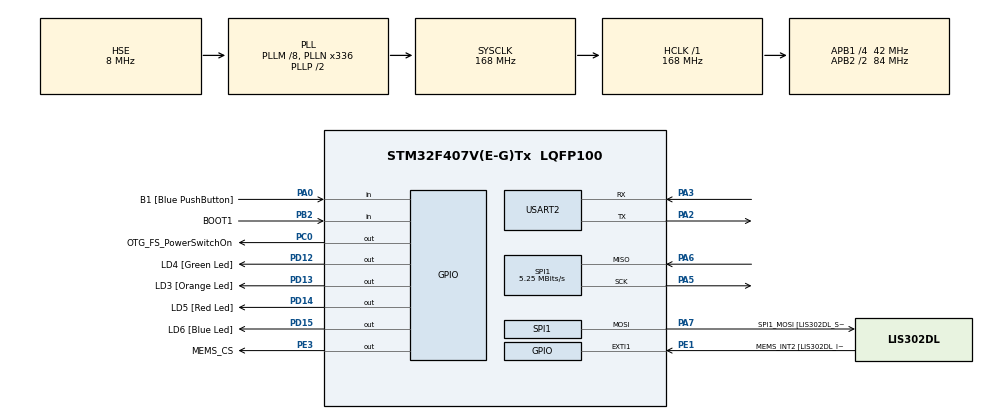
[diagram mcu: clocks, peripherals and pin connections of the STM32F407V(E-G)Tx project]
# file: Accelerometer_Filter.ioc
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Mcu.Family=STM32F4
Mcu.Name=STM32F407V(E-G)Tx
Mcu.Package=LQFP100
NVIC.PriorityGroup=NVIC_PRIORITYGROUP_0
PA0-WKUP.GPIO_Label=B1 [Blue PushButton]
PA0-WKUP.Signal=GPIO_Input
PA13.GPIO_Label=SWDIO
PA13.Mode=Serial_Wire
PA13.Signal=SYS_JTMS-SWDIO
PA14.GPIO_Label=SWCLK
PA14.Mode=Serial_Wire
PA14.Signal=SYS_JTCK-SWCLK
PA2.Mode=Asynchronous
PA2.Signal=USART2_TX
PA3.Mode=Asynchronous
PA3.Signal=USART2_RX
PA5.Mode=Full_Duplex_Master
PA5.Signal=SPI1_SCK
PA6.Mode=Full_Duplex_Master
PA6.Signal=SPI1_MISO
PA7.GPIO_Label=SPI1_MOSI [LIS302DL_SDA/SDI/SDO]
PA7.GPIO_Mode=GPIO_MODE_AF_PP
PA7.GPIO_PuPd=GPIO_NOPULL
PA7.GPIO_Speed=GPIO_SPEED_FREQ_VERY_HIGH
PA7.Mode=Full_Duplex_Master
PA7.Signal=SPI1_MOSI
PB2.GPIO_Label=BOOT1
PB2.GPIO_Mode=GPIO_MODE_INPUT
PB2.GPIO_PuPd=GPIO_NOPULL
PB2.Signal=GPIO_Input
PB3.GPIO_Label=SWO
PB3.Signal=SYS_JTDO-SWO
PC0.GPIO_Label=OTG_FS_PowerSwitchOn
PC0.GPIO_PuPd=GPIO_NOPULL
PC0.GPIO_Speed=GPIO_SPEED_FREQ_LOW
PC0.PinState=GPIO_PIN_SET
PC0.Signal=GPIO_Output
PC14-OSC32_IN.GPIO_Label=PC14-OSC32_IN
PC14-OSC32_IN.Mode=LSE-External-Oscillator
PC14-OSC32_IN.Signal=RCC_OSC32_IN
PC15-OSC32_OUT.GPIO_Label=PC15-OSC32_OUT
PC15-OSC32_OUT.Mode=LSE-External-Oscillator
PC15-OSC32_OUT.Signal=RCC_OSC32_OUT
PD12.GPIO_Label=LD4 [Green Led]
PD12.GPIO_PuPd=GPIO_NOPULL
PD12.GPIO_Speed=GPIO_SPEED_FREQ_LOW
PD12.Signal=GPIO_Output
PD13.GPIO_Label=LD3 [Orange Led]
PD13.GPIO_PuPd=GPIO_NOPULL
PD13.GPIO_Speed=GPIO_SPEED_FREQ_LOW
PD13.Signal=GPIO_Output
PD14.GPIO_Label=LD5 [Red Led]
PD14.GPIO_PuPd=GPIO_NOPULL
PD14.GPIO_Speed=GPIO_SPEED_FREQ_LOW
PD14.Signal=GPIO_Output
PD15.GPIO_Label=LD6 [Blue Led]
PD15.GPIO_PuPd=GPIO_NOPULL
PD15.GPIO_Speed=GPIO_SPEED_FREQ_LOW
PD15.Signal=GPIO_Output
PE1.GPIO_Label=MEMS_INT2 [LIS302DL_INT2]
PE1.GPIO_ModeDefaultEXTI=GPIO_MODE_EVT_RISING
PE1.GPIO_PuPd=GPIO_NOPULL
PE1.Signal=GPXTI1
PE3.GPIO_Label=MEMS_CS
PE3.GPIO_PuPd=GPIO_NOPULL
PE3.GPIO_Speed=GPIO_SPEED_FREQ_HIGH
PE3.PinState=GPIO_PIN_SET
PE3.Signal=GPIO_Output
PH0-OSC_IN.GPIO_Label=PH0-OSC_IN
PH0-OSC_IN.Mode=HSE-External-Oscillator
PH0-OSC_IN.Signal=RCC_OSC_IN
PH1-OSC_OUT.GPIO_Label=PH1-OSC_OUT
PH1-OSC_OUT.Mode=HSE-External-Oscillator
PH1-OSC_OUT.Signal=RCC_OSC_OUT
ProjectManager.HeapSize=0x200
ProjectManager.StackSize=0x400
ProjectManager.TargetToolchain=STM32CubeIDE
RCC.48MHZClocksFreq_Value=48000000
RCC.AHBFreq_Value=168000000
RCC.APB1CLKDivider=RCC_HCLK_DIV4
RCC.APB1Freq_Value=42000000
RCC.APB1TimFreq_Value=84000000
RCC.APB2CLKDivider=RCC_HCLK_DIV2
RCC.APB2Freq_Value=84000000
RCC.APB2TimFreq_Value=168000000
RCC.CortexFreq_Value=168000000
RCC.HCLKFreq_Value=168000000
RCC.HSE_VALUE=8000000
RCC.HSI_VALUE=16000000
RCC.PLLM=8
RCC.PLLN=336
RCC.PLLQ=7
RCC.PLLSourceVirtual=RCC_PLLSOURCE_HSE
RCC.SYSCLKFreq_VALUE=168000000
RCC.SYSCLKSource=RCC_SYSCLKSOURCE_PLLCLK
RCC.VCOOutputFreq_Value=336000000
SPI1.BaudRatePrescaler=SPI_BAUDRATEPRESCALER_16
SPI1.CalculateBaudRate=5.25 MBits/s
SPI1.Direction=SPI_DIRECTION_2LINES
SPI1.Mode=SPI_MODE_MASTER
SPI1.VirtualType=VM_MASTER
USART2.VirtualMode=VM_ASYNC
board=STM32F407G-DISC1

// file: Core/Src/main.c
/* USER CODE BEGIN Header */
/**
  ******************************************************************************
  * @file           : main.c
  * @brief          : Accelerometer Filter - Real-time Accelerometer Data Processing
  ******************************************************************************
  * @project        : Accelerometer Filter - Dual-Axis Digital Signal Processing
  * @description    : This project implements a 2nd order IIR Butterworth
  *                   low-pass digital filter for processing accelerometer data
  *                   from the LIS3DSH MEMS sensor on STM32F407VG Discovery board.
  *
  * @hardware       : STM32F407VGT6 MCU
  *                   LIS3DSH 3-axis accelerometer (SPI interface)
  *
  * @features       : - Real-time pitch and roll angle calculation
  *                   - Digital IIR filter (Fc=5Hz, Fs=100Hz) for noise reduction
  *                   - UART data streaming for visualization (MATLAB Dashboard)
  *                   - 100Hz sampling rate with DWT cycle counter for benchmarking
  *
  * @author         : Enes
  * @date           : December 2025
  ******************************************************************************
  * @attention
  *
  * Copyright (c) 2025 STMicroelectronics.
  * All rights reserved.
  *
  * This software is licensed under terms that can be found in the LICENSE file
  * in the root directory of this software component.
  * If no LICENSE file comes with this software, it is provided AS-IS.
  *
  ******************************************************************************
  */
/* USER CODE END Header */
#include "main.h"

/* USER CODE BEGIN Includes */

#include <math.h>   // Required for atan2, sqrt, etc.
#include <stdio.h>  // Required for sprintf
#include <string.h> // Required for strlen

/* USER CODE END Includes */

/* USER CODE BEGIN PTD */

// Structure to hold state variables for each filter instance (Pitch, Roll)
typedef struct
{
  float x_history[9]; // Input history: x[n], x[n-1], ..., x[n-8] (max 8th order)
  float y_history[9]; // Output history: y[n], y[n-1], ..., y[n-8] (max 8th order)
} FilterState_t;

/* USER CODE END PTD */

/* USER CODE BEGIN PD */

/* LIS3DSH Register Addresses */
#define LIS3DSH_WHO_AM_I        0x0F  // Device identification register
#define LIS3DSH_CTRL_REG3       0x23  // Interrupt control register
#define LIS3DSH_CTRL_REG4       0x20  // Control register 4 (ODR, Power mode)
#define LIS3DSH_CTRL_REG5       0x24  // Control register 5 (Full scale, BDU)
#define LIS3DSH_CTRL_REG6       0x25  // Control register 6 (FIFO)
#define LIS3DSH_STATUS          0x27  // Status register
#define LIS3DSH_OUT_X_L         0x28  // X-axis LSB
#define LIS3DSH_OUT_X_H         0x29  // X-axis MSB
#define LIS3DSH_OUT_Y_L         0x2A  // Y-axis LSB
#define LIS3DSH_OUT_Y_H         0x2B  // Y-axis MSB
#define LIS3DSH_OUT_Z_L         0x2C  // Z-axis LSB
#define LIS3DSH_OUT_Z_H         0x2D  // Z-axis MSB

/* LIS3DSH Device ID */
#define LIS3DSH_ID              0x3F

/* LIS3DSH Configuration Values */
#define LIS3DSH_ODR_100HZ       0x67  // 100Hz ODR, XYZ axes enabled

/* LIS3DSH Sensitivity (±2g range, 16-bit resolution) */
#define LIS3DSH_SENSITIVITY     0.06f // mg/LSB

/* Mathematical Constants */
#define RAD_TO_DEG              57.2958f // 180/PI

/* USER CODE END PD */

SPI_HandleTypeDef hspi1;

UART_HandleTypeDef huart2;

/* USER CODE BEGIN PV */

/* =============================================================================
 * IIR DIGITAL FILTER COEFFICIENTS
 * Design: Butterworth Low-Pass Filter (2nd, 4th, 8th Order)
 * Sampling Frequency (Fs): 100 Hz
 * Cutoff Frequency (Fc): 5 Hz
 * Generated using MATLAB's Filter Design Tool
 * ============================================================================= */

// 2nd Order Butterworth Filter Coefficients
const float B_COEFFS_2[3] = {0.020083f, 0.040167f, 0.020083f};
const float A_COEFFS_2[3] = {1.000000f, -1.561018f, 0.641352f};

// 4th Order Butterworth Filter Coefficients
const float B_COEFFS_4[5] = {0.000416f, 0.001664f, 0.002496f, 0.001664f, 0.000416f};
const float A_COEFFS_4[5] = {1.000000f, -3.180638f, 3.861194f, -2.112155f, 0.438265f};

// 8th Order Butterworth Filter Coefficients
const float B_COEFFS_8[9] = {0.000000f, 0.000001f, 0.000005f, 0.000010f, 0.000012f, 0.000010f, 0.000005f, 0.000001f, 0.000000f};
const float A_COEFFS_8[9] = {1.000000f, -6.390365f, 18.000338f, -29.171099f, 29.731375f, -19.505632f, 8.040996f, -1.903669f, 0.198100f};

/* Runtime Filter Order Control */
volatile uint8_t current_filter_order = 2;  // Default: 2nd order (changeable via button)

/* Button Debouncing */
static uint32_t last_button_press = 0;
#define BUTTON_DEBOUNCE_MS 300

/* Filter State Instances */
FilterState_t pitch_filter = {0}; // State for Pitch
FilterState_t roll_filter = {0};  // State for Roll

/* Sensor Data Variables */
static int16_t raw_acc_x, raw_acc_y, raw_acc_z; // Raw 16-bit accelerometer data
static float acc_x_g, acc_y_g, acc_z_g;         // Acceleration in g units

static float pitch_raw, pitch_filtered;         // Raw and filtered pitch angle (degrees)
static float roll_raw, roll_filtered;           // Raw and filtered roll angle (degrees)

/* Benchmarking Variables */
static uint32_t start_cycles, end_cycles, total_cycles;

/* UART Communication Buffer */
static char uart_tx_buffer[128];

/* USER CODE END PV */

void SystemClock_Config(void);
static void MX_GPIO_Init(void);
static void MX_SPI1_Init(void);
static void MX_USART2_UART_Init(void);
/* USER CODE BEGIN PFP */

void Check_Button_Press(void);
void Blink_LED_Times(uint8_t times);
float Apply_IIR_Filter(float input, FilterState_t *pState);
void Run_Performance_Test(void);

/* USER CODE END PFP */

/* USER CODE BEGIN 0 */

/**
 * @brief  Initializes the DWT (Data Watchpoint and Trace) unit for cycle counting.
 * Used to measure code execution time precisely.
 */
void DWT_Init(void)
{
  // Enable TRC (Trace)
  CoreDebug->DEMCR |= CoreDebug_DEMCR_TRCENA_Msk;

  // Reset cycle counter
  DWT->CYCCNT = 0;

  // Enable cycle counter
  DWT->CTRL |= DWT_CTRL_CYCCNTENA_Msk;
}

/**
 * @brief  Check for button press and cycle through filter orders
 * @param  None
 * @retval None
 */
void Check_Button_Press(void)
{
  // Read button state (active high when pressed)
  if (HAL_GPIO_ReadPin(B1_GPIO_Port, B1_Pin) == GPIO_PIN_SET)
  {
    // Debounce check
    uint32_t current_time = HAL_GetTick();
    if ((current_time - last_button_press) > BUTTON_DEBOUNCE_MS)
    {
      last_button_press = current_time;

      // Cycle through filter orders: 2 -> 4 -> 8 -> 2
      if (current_filter_order == 2)
        current_filter_order = 4;
      else if (current_filter_order == 4)
        current_filter_order = 8;
      else
        current_filter_order = 2;

      // Reset filter states when changing order
      memset(&pitch_filter, 0, sizeof(FilterState_t));
      memset(&roll_filter, 0, sizeof(FilterState_t));

      // Warm-up filter with current sensor values to prevent transient offset
      // Run filter 20 times with current raw values to initialize states
      float current_pitch = pitch_raw;
      float current_roll = roll_raw;
      for (uint8_t i = 0; i < 20; i++)
      {
        Apply_IIR_Filter(current_pitch, &pitch_filter);
        Apply_IIR_Filter(current_roll, &roll_filter);
      }

      // Notify MATLAB to clear buffers
      sprintf(uart_tx_buffer, "FILTER_CHANGE,%d\r\n", current_filter_order);
      HAL_UART_Transmit(&huart2, (uint8_t*)uart_tx_buffer, strlen(uart_tx_buffer), HAL_MAX_DELAY);

      // Blink LED to indicate new order (2 = 2 blinks, 4 = 4 blinks, 8 = 8 blinks)
      uint8_t blink_count = (current_filter_order == 2) ? 2 : (current_filter_order == 4) ? 4 : 8;
      Blink_LED_Times(blink_count);

      // Run performance test for new filter order
      Run_Performance_Test();
    }
  }
}

/**
 * @brief  Blink blue LED (LD6) specified number of times
 * @param  times: Number of blinks
 * @retval None
 */
void Blink_LED_Times(uint8_t times)
{
  for (uint8_t i = 0; i < times; i++)
  {
    HAL_GPIO_WritePin(LD6_GPIO_Port, LD6_Pin, GPIO_PIN_SET);  // Turn on blue LED
    HAL_Delay(150);                                            // LED on for 150ms
    HAL_GPIO_WritePin(LD6_GPIO_Port, LD6_Pin, GPIO_PIN_RESET); // Turn off
    if (i < times - 1)  // Don't delay after last blink
      HAL_Delay(150);   // LED off for 150ms between blinks
  }
}

/**
 * @brief  Applies IIR Filter (2nd, 4th, or 8th Order) to a specific axis.
 * @param  input: Raw signal value
 * @param  pState: Pointer to the filter state structure (history buffers)
 * @retval Filtered output value
 */
float Apply_IIR_Filter(float input, FilterState_t *pState)
{
  const float *B;
  const float *A;
  uint8_t order;

  // Select coefficients based on runtime filter order
  switch (current_filter_order)
  {
    case 2:
      B = B_COEFFS_2;
      A = A_COEFFS_2;
      order = 2;
      break;
    case 4:
      B = B_COEFFS_4;
      A = A_COEFFS_4;
      order = 4;
      break;
    case 8:
      B = B_COEFFS_8;
      A = A_COEFFS_8;
      order = 8;
      break;
    default:
      B = B_COEFFS_2;
      A = A_COEFFS_2;
      order = 2;
      break;
  }

  // Shift input history (Delay line)
  for (int8_t i = order; i > 0; i--)
  {
    pState->x_history[i] = pState->x_history[i - 1];
  }
  pState->x_history[0] = input;

  // Shift output history
  for (int8_t i = order; i > 0; i--)
  {
    pState->y_history[i] = pState->y_history[i - 1];
  }

  // Compute Difference Equation: y[n] = sum(b[i]*x[n-i]) - sum(a[i]*y[n-i])
  float feedforward = 0.0f;
  float feedback = 0.0f;

  for (uint8_t i = 0; i <= order; i++)
  {
    feedforward += B[i] * pState->x_history[i];
  }

  for (uint8_t i = 1; i <= order; i++)
  {
    feedback += A[i] * pState->y_history[i];
  }

  pState->y_history[0] = feedforward - feedback;

  return pState->y_history[0];
}

/**
 * @brief  Write a byte to LIS3DSH register via SPI
 * @param  reg_addr: Register address to write to
 * @param  value: Data byte to write
 * @retval None
 */
static void LIS3DSH_Write(uint8_t reg_addr, uint8_t value)
{
  uint8_t tx_data[2];
  tx_data[0] = reg_addr & 0x7F; // Ensure bit 7 = 0 for write operation
  tx_data[1] = value;

  HAL_GPIO_WritePin(MEMS_CS_GPIO_Port, MEMS_CS_Pin, GPIO_PIN_RESET);
  HAL_SPI_Transmit(&hspi1, tx_data, 2, HAL_MAX_DELAY);
  HAL_GPIO_WritePin(MEMS_CS_GPIO_Port, MEMS_CS_Pin, GPIO_PIN_SET);
}

/**
 * @brief  Read a byte from LIS3DSH register via SPI
 * @param  reg_addr: Register address to read from
 * @retval Register value (uint8_t)
 */
static uint8_t LIS3DSH_Read_Reg(uint8_t reg_addr)
{
  uint8_t tx_buf[2] = {0};
  uint8_t rx_buf[2] = {0};

  tx_buf[0] = reg_addr | 0x80; // Set bit 7 for read operation
  tx_buf[1] = 0x00;

  HAL_GPIO_WritePin(MEMS_CS_GPIO_Port, MEMS_CS_Pin, GPIO_PIN_RESET);
  HAL_SPI_TransmitReceive(&hspi1, tx_buf, rx_buf, 2, HAL_MAX_DELAY);
  HAL_GPIO_WritePin(MEMS_CS_GPIO_Port, MEMS_CS_Pin, GPIO_PIN_SET);

  return rx_buf[1];
}

/**
 * @brief  Initialize LIS3DSH Accelerometer Sensor
 * @details Verifies device ID and configures sensor for continuous operation:
 *          - Data rate: 100 Hz
 *          - Full scale: ±2g
 *          - All axes (X, Y, Z) enabled
 * @retval 1 if initialization successful, 0 if failed
 */
static uint8_t LIS3DSH_Init(void)
{
  uint8_t tx_buf[2] = { 0 };
  uint8_t rx_buf[2] = { 0 };
  uint8_t chip_id;

  // Step 1: Read and verify WHO_AM_I register
  tx_buf[0] = LIS3DSH_WHO_AM_I | 0x80; // Set bit 7 for read operation
  tx_buf[1] = 0x00;

  HAL_GPIO_WritePin(MEMS_CS_GPIO_Port, MEMS_CS_Pin, GPIO_PIN_RESET);
  HAL_SPI_TransmitReceive(&hspi1, tx_buf, rx_buf, 2, HAL_MAX_DELAY);
  HAL_GPIO_WritePin(MEMS_CS_GPIO_Port, MEMS_CS_Pin, GPIO_PIN_SET);

  chip_id = rx_buf[1];

  // Verify device ID (LIS3DSH = 0x3F, LIS302DL = 0x3B, LIS3DH = 0x32/0x33)
  if (chip_id != 0x3F && chip_id != 0x3B && chip_id != 0x32 && chip_id != 0x33)
  {
    return 0; // Initialization failed
  }

  // Step 2: Configure sensor registers (order is important!)
  HAL_Delay(10);

  // Configure full-scale range (±2g)
  LIS3DSH_Write(LIS3DSH_CTRL_REG5, 0x00);
  HAL_Delay(10);

  // Disable interrupts
  LIS3DSH_Write(LIS3DSH_CTRL_REG3, 0x00);
  HAL_Delay(10);

  // Disable FIFO
  LIS3DSH_Write(LIS3DSH_CTRL_REG6, 0x00);
  HAL_Delay(10);

  // Activate sensor: 100Hz ODR, XYZ axes enabled
  LIS3DSH_Write(LIS3DSH_CTRL_REG4, LIS3DSH_ODR_100HZ);
  HAL_Delay(100); // Wait for sensor to stabilize and start producing data

  return 1; // Initialization successful
}

/**
 * @brief  Read raw acceleration data from LIS3DSH sensor
 * @details Reads 6 bytes (X_L, X_H, Y_L, Y_H, Z_L, Z_H) via individual SPI transactions.
 *          Note: Multi-byte read mode (auto-increment) is not used due to hardware limitations.
 * @param  pX: Pointer to store X-axis raw value
 * @param  pY: Pointer to store Y-axis raw value
 * @param  pZ: Pointer to store Z-axis raw value
 * @retval None
 */
static void LIS3DSH_Read_Acc_Raw(int16_t *pX, int16_t *pY, int16_t *pZ)
{
  uint8_t tx_buf[2];
  uint8_t rx_buf[2];
  uint8_t data[6];

  // Read 6 consecutive registers individually (OUT_X_L through OUT_Z_H)
  for (uint8_t i = 0; i < 6; i++)
  {
    tx_buf[0] = (LIS3DSH_OUT_X_L + i) | 0x80; // Set bit 7 for read
    tx_buf[1] = 0x00;

    HAL_GPIO_WritePin(MEMS_CS_GPIO_Port, MEMS_CS_Pin, GPIO_PIN_RESET);
    HAL_SPI_TransmitReceive(&hspi1, tx_buf, rx_buf, 2, HAL_MAX_DELAY);
    HAL_GPIO_WritePin(MEMS_CS_GPIO_Port, MEMS_CS_Pin, GPIO_PIN_SET);

    data[i] = rx_buf[1];
  }

  // Assemble 16-bit signed values from LSB and MSB
  *pX = (int16_t) ((data[1] << 8) | data[0]);
  *pY = (int16_t) ((data[3] << 8) | data[2]);
  *pZ = (int16_t) ((data[5] << 8) | data[4]);
}

/**
 * @brief  Benchmarks the filter performance.
 * Measures average execution time over 1000 iterations.
 * Sends the CPU cycles used for filtering via UART.
 */
void Run_Performance_Test(void)
{
  float test_input = 10.0f;
  float test_output;
  char msg[128];
  uint32_t sum_cycles = 0;
  const uint16_t iterations = 1000;

  // Verify DWT counter is running
  uint32_t test_start = DWT->CYCCNT;
  for (volatile int i = 0; i < 100; i++);  // Small delay
  uint32_t test_end = DWT->CYCCNT;

  if (test_end == test_start)
  {
    // DWT not working, send error message
    sprintf(msg, "PERF,%d,ERROR,DWT_NOT_ENABLED\r\n", current_filter_order);
    HAL_UART_Transmit(&huart2, (uint8_t*) msg, strlen(msg), 100);
    return;
  }

  // Run multiple iterations for accurate measurement
  for (uint16_t i = 0; i < iterations; i++)
  {
    // Start cycle counter (read current value)
    start_cycles = DWT->CYCCNT;

    // Apply filter
    test_output = Apply_IIR_Filter(test_input, &pitch_filter);

    // End cycle counter
    end_cycles = DWT->CYCCNT;
    sum_cycles += (end_cycles - start_cycles);
  }

  uint32_t avg_cycles = sum_cycles / iterations;
  float execution_time_us = (float)avg_cycles / 168.0f; // At 168MHz

  // Send result: "PERF,<order>,<cycles>,<time_us>"
  sprintf(msg, "PERF,%d,%lu,%.2f\r\n", current_filter_order, avg_cycles, execution_time_us);
  HAL_UART_Transmit(&huart2, (uint8_t*) msg, strlen(msg), 100);
}

/* USER CODE END 0 */

int main(void)
{

  /* MCU Configuration--------------------------------------------------------*/

  /* Reset of all peripherals, Initializes the Flash interface and the Systick. */
  HAL_Init();

  /* Configure the system clock */
  SystemClock_Config();

  /* Initialize all configured peripherals */
  MX_GPIO_Init();
  MX_SPI1_Init();
  MX_USART2_UART_Init();
  /* USER CODE BEGIN 2 */

  DWT_Init();  // Enable Cycle Counter for benchmarking

  // Initialize CS pin to high (idle state)
  HAL_GPIO_WritePin(MEMS_CS_GPIO_Port, MEMS_CS_Pin, GPIO_PIN_SET);
  HAL_Delay(100); // Power-up delay for sensor stabilization

  // Initialize LIS3DSH accelerometer
  if (LIS3DSH_Init() == 0)
  {
    while (1) // Initialization failed - blink red LED indefinitely
    {
      HAL_GPIO_TogglePin(LD5_GPIO_Port, LD5_Pin);
      HAL_Delay(250);
    }
  }

  // Initialization successful - flash green LED
  HAL_GPIO_WritePin(LD4_GPIO_Port, LD4_Pin, GPIO_PIN_SET);
  HAL_Delay(500);
  HAL_GPIO_WritePin(LD4_GPIO_Port, LD4_Pin, GPIO_PIN_RESET);

  // Run performance benchmark and send results via UART
  Run_Performance_Test();
  HAL_Delay(100);

  /* USER CODE END 2 */

  /* Infinite loop */
  /* USER CODE BEGIN WHILE */

  uint32_t last_tick = HAL_GetTick();  // Initialize timing for precise 100Hz sampling

  while (1)
  {
    // Step 0: Check for button press to change filter order
    Check_Button_Press();

    // Step 1: Wait for new sensor data (check STATUS register for data ready)
    uint8_t status = 0;
    do {
      status = LIS3DSH_Read_Reg(LIS3DSH_STATUS);
    } while (!(status & 0x08));  // Wait until ZYXDA (data ready) bit is set

    // Step 2: Read raw accelerometer data from sensor (guaranteed fresh data)
    LIS3DSH_Read_Acc_Raw(&raw_acc_x, &raw_acc_y, &raw_acc_z);

    // Step 3: Convert raw values to acceleration in g units
    // LIS3DSH sensitivity: 0.06 mg/LSB at ±2g range -> multiply by 0.001 to get g
    acc_x_g = (float) raw_acc_x * (LIS3DSH_SENSITIVITY * 0.001f);
    acc_y_g = (float) raw_acc_y * (LIS3DSH_SENSITIVITY * 0.001f);
    acc_z_g = (float) raw_acc_z * (LIS3DSH_SENSITIVITY * 0.001f);

    // Step 4: Calculate Pitch and Roll angles from accelerometer data
    // Pitch (rotation around Y-axis): arctan2(X, Z)
    // Roll (rotation around X-axis): arctan2(Y, Z)
    // Note: Yaw cannot be calculated with accelerometer only (requires gyroscope/magnetometer)

    pitch_raw = atan2f(acc_x_g, acc_z_g) * RAD_TO_DEG;
    roll_raw = atan2f(acc_y_g, acc_z_g) * RAD_TO_DEG;

    // Step 5: Apply IIR low-pass filter to reduce noise (separate state for each axis)
    pitch_filtered = Apply_IIR_Filter(pitch_raw, &pitch_filter);
    roll_filtered = Apply_IIR_Filter(roll_raw, &roll_filter);

    // Step 6: Transmit data via UART for visualization (non-blocking with timeout)
    // Protocol: "S,<order>,<pitch_raw>,<pitch_filt>,<roll_raw>,<roll_filt>,E\r\n"
    int len = sprintf(uart_tx_buffer, "S,%d,%.2f,%.2f,%.2f,%.2f,E\r\n",
                      current_filter_order, pitch_raw, pitch_filtered, roll_raw, roll_filtered);

    HAL_UART_Transmit(&huart2, (uint8_t*) uart_tx_buffer, len, 5);  // 5ms timeout instead of blocking

    // Step 7: Maintain precise 100Hz sampling rate (10ms period)
    // Wait until exactly 10ms has passed since last iteration
    while ((HAL_GetTick() - last_tick) < 10);
    last_tick = HAL_GetTick();
    /* USER CODE END WHILE */

  }
}

void SystemClock_Config(void)
{
  RCC_OscInitTypeDef RCC_OscInitStruct = {0};
  RCC_ClkInitTypeDef RCC_ClkInitStruct = {0};

  /** Configure the main internal regulator output voltage
  */
  __HAL_RCC_PWR_CLK_ENABLE();
  __HAL_PWR_VOLTAGESCALING_CONFIG(PWR_REGULATOR_VOLTAGE_SCALE1);

  /** Initializes the RCC Oscillators according to the specified parameters
  * in the RCC_OscInitTypeDef structure.
  */
  RCC_OscInitStruct.OscillatorType = RCC_OSCILLATORTYPE_HSE;
  RCC_OscInitStruct.HSEState = RCC_HSE_ON;
  RCC_OscInitStruct.PLL.PLLState = RCC_PLL_ON;
  RCC_OscInitStruct.PLL.PLLSource = RCC_PLLSOURCE_HSE;
  RCC_OscInitStruct.PLL.PLLM = 8;
  RCC_OscInitStruct.PLL.PLLN = 336;
  RCC_OscInitStruct.PLL.PLLP = RCC_PLLP_DIV2;
  RCC_OscInitStruct.PLL.PLLQ = 7;
  if (HAL_RCC_OscConfig(&RCC_OscInitStruct) != HAL_OK)
  {
    Error_Handler();
  }

  /** Initializes the CPU, AHB and APB buses clocks
  */
  RCC_ClkInitStruct.ClockType = RCC_CLOCKTYPE_HCLK|RCC_CLOCKTYPE_SYSCLK
                              |RCC_CLOCKTYPE_PCLK1|RCC_CLOCKTYPE_PCLK2;
  RCC_ClkInitStruct.SYSCLKSource = RCC_SYSCLKSOURCE_PLLCLK;
  RCC_ClkInitStruct.AHBCLKDivider = RCC_SYSCLK_DIV1;
  RCC_ClkInitStruct.APB1CLKDivider = RCC_HCLK_DIV4;
  RCC_ClkInitStruct.APB2CLKDivider = RCC_HCLK_DIV2;

  if (HAL_RCC_ClockConfig(&RCC_ClkInitStruct, FLASH_LATENCY_5) != HAL_OK)
  {
    Error_Handler();
  }
}

static void MX_SPI1_Init(void)
{

  /* SPI1 parameter configuration*/
  hspi1.Instance = SPI1;
  hspi1.Init.Mode = SPI_MODE_MASTER;
  hspi1.Init.Direction = SPI_DIRECTION_2LINES;
  hspi1.Init.DataSize = SPI_DATASIZE_8BIT;
  hspi1.Init.CLKPolarity = SPI_POLARITY_LOW;
  hspi1.Init.CLKPhase = SPI_PHASE_1EDGE;
  hspi1.Init.NSS = SPI_NSS_SOFT;
  hspi1.Init.BaudRatePrescaler = SPI_BAUDRATEPRESCALER_16;
  hspi1.Init.FirstBit = SPI_FIRSTBIT_MSB;
  hspi1.Init.TIMode = SPI_TIMODE_DISABLE;
  hspi1.Init.CRCCalculation = SPI_CRCCALCULATION_DISABLE;
  hspi1.Init.CRCPolynomial = 10;
  if (HAL_SPI_Init(&hspi1) != HAL_OK)
  {
    Error_Handler();
  }

}

static void MX_USART2_UART_Init(void)
{

  huart2.Instance = USART2;
  huart2.Init.BaudRate = 115200;
  huart2.Init.WordLength = UART_WORDLENGTH_8B;
  huart2.Init.StopBits = UART_STOPBITS_1;
  huart2.Init.Parity = UART_PARITY_NONE;
  huart2.Init.Mode = UART_MODE_TX_RX;
  huart2.Init.HwFlowCtl = UART_HWCONTROL_NONE;
  huart2.Init.OverSampling = UART_OVERSAMPLING_16;
  if (HAL_UART_Init(&huart2) != HAL_OK)
  {
    Error_Handler();
  }

}

static void MX_GPIO_Init(void)
{
  GPIO_InitTypeDef GPIO_InitStruct = {0};

  /* GPIO Ports Clock Enable */
  __HAL_RCC_GPIOE_CLK_ENABLE();
  __HAL_RCC_GPIOC_CLK_ENABLE();
  __HAL_RCC_GPIOH_CLK_ENABLE();
  __HAL_RCC_GPIOA_CLK_ENABLE();
  __HAL_RCC_GPIOB_CLK_ENABLE();
  __HAL_RCC_GPIOD_CLK_ENABLE();

  /*Configure GPIO pin Output Level */
  HAL_GPIO_WritePin(MEMS_CS_GPIO_Port, MEMS_CS_Pin, GPIO_PIN_SET);

  /*Configure GPIO pin Output Level */
  HAL_GPIO_WritePin(OTG_FS_PowerSwitchOn_GPIO_Port, OTG_FS_PowerSwitchOn_Pin, GPIO_PIN_SET);

  /*Configure GPIO pin Output Level */
  HAL_GPIO_WritePin(GPIOD, LD4_Pin|LD3_Pin|LD5_Pin|LD6_Pin, GPIO_PIN_RESET);

  /*Configure GPIO pin : MEMS_CS_Pin */
  GPIO_InitStruct.Pin = MEMS_CS_Pin;
  GPIO_InitStruct.Mode = GPIO_MODE_OUTPUT_PP;
  GPIO_InitStruct.Pull = GPIO_NOPULL;
  GPIO_InitStruct.Speed = GPIO_SPEED_FREQ_HIGH;
  HAL_GPIO_Init(MEMS_CS_GPIO_Port, &GPIO_InitStruct);

  /*Configure GPIO pin : OTG_FS_PowerSwitchOn_Pin */
  GPIO_InitStruct.Pin = OTG_FS_PowerSwitchOn_Pin;
  GPIO_InitStruct.Mode = GPIO_MODE_OUTPUT_PP;
  GPIO_InitStruct.Pull = GPIO_NOPULL;
  GPIO_InitStruct.Speed = GPIO_SPEED_FREQ_LOW;
  HAL_GPIO_Init(OTG_FS_PowerSwitchOn_GPIO_Port, &GPIO_InitStruct);

  /*Configure GPIO pin : B1_Pin */
  GPIO_InitStruct.Pin = B1_Pin;
  GPIO_InitStruct.Mode = GPIO_MODE_INPUT;
  GPIO_InitStruct.Pull = GPIO_NOPULL;
  HAL_GPIO_Init(B1_GPIO_Port, &GPIO_InitStruct);

  /*Configure GPIO pin : BOOT1_Pin */
  GPIO_InitStruct.Pin = BOOT1_Pin;
  GPIO_InitStruct.Mode = GPIO_MODE_INPUT;
  GPIO_InitStruct.Pull = GPIO_NOPULL;
  HAL_GPIO_Init(BOOT1_GPIO_Port, &GPIO_InitStruct);

  /*Configure GPIO pins : LD4_Pin LD3_Pin LD5_Pin LD6_Pin */
  GPIO_InitStruct.Pin = LD4_Pin|LD3_Pin|LD5_Pin|LD6_Pin;
  GPIO_InitStruct.Mode = GPIO_MODE_OUTPUT_PP;
  GPIO_InitStruct.Pull = GPIO_NOPULL;
  GPIO_InitStruct.Speed = GPIO_SPEED_FREQ_LOW;
  HAL_GPIO_Init(GPIOD, &GPIO_InitStruct);

  /*Configure GPIO pin : MEMS_INT2_Pin */
  GPIO_InitStruct.Pin = MEMS_INT2_Pin;
  GPIO_InitStruct.Mode = GPIO_MODE_EVT_RISING;
  GPIO_InitStruct.Pull = GPIO_NOPULL;
  HAL_GPIO_Init(MEMS_INT2_GPIO_Port, &GPIO_InitStruct);

}

void Error_Handler(void)
{
  /* USER CODE BEGIN Error_Handler_Debug */
  /* User can add their own implementation to report the HAL error return state */
  __disable_irq();
  while (1)
  {
  }
  /* USER CODE END Error_Handler_Debug */
}
